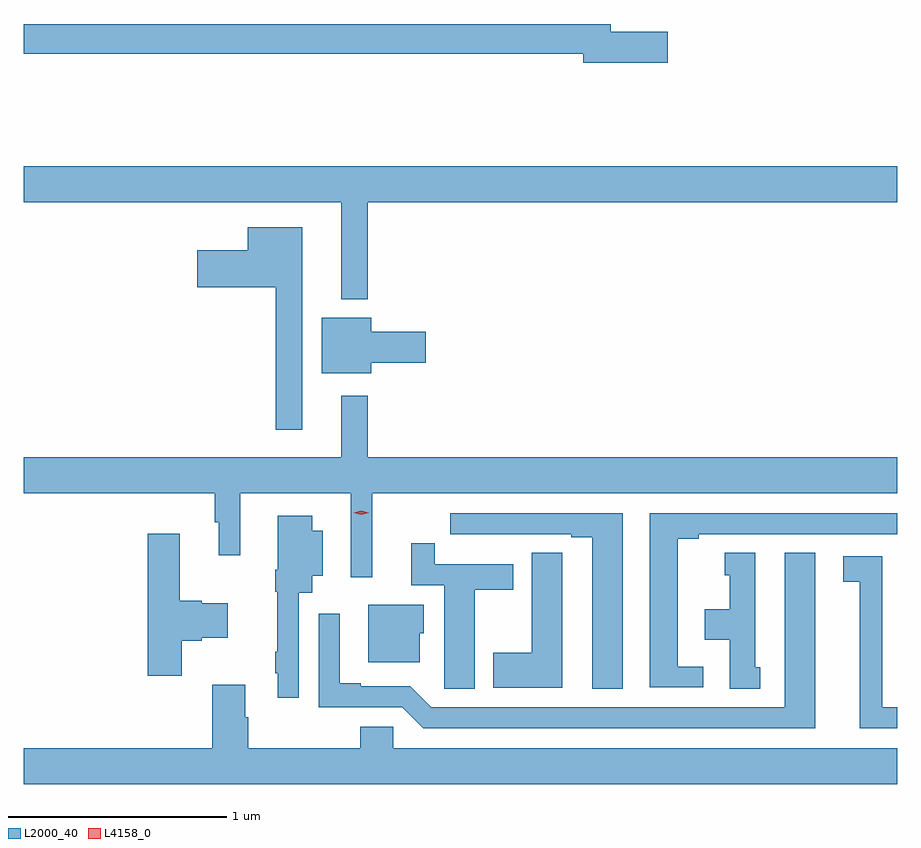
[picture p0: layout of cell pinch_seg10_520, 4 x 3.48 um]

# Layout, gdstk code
import gdstk
lib = gdstk.Library(unit=1e-6, precision=1e-09)
def P(c, l, *ps):  # polygons
    for p in ps: c.add(gdstk.Polygon(p, *l))
L2000_40 = (2000, 40)
L4158_0 = (4158, 0)

pinch_seg10_520 = lib.new_cell('pinch_seg10_520')
P(pinch_seg10_520, L2000_40, [(279.175,1266.464),(278.914,1266.464),(278.914,1266.5),(276.225,1266.5),(276.225,1266.364),(278.786,1266.364),(278.786,1266.322),(279.175,1266.322)],
  [(277.801,1265.684),(280.225,1265.684),(280.225,1265.848),(276.225,1265.848),(276.225,1265.684),(277.679,1265.684),(277.679,1265.24),(277.801,1265.24)],
  [(277.501,1265.569),(277.25,1265.569),(277.25,1265.464),(277.02,1265.464),(277.02,1265.294),(277.38,1265.294),(277.38,1264.641),(277.501,1264.641)],
  [(277.816,1264.948),(278.065,1264.948),(278.065,1265.09),(277.816,1265.09),(277.816,1265.155),(277.589,1265.155),(277.589,1264.901),(277.816,1264.901)],
  [(277.82,1264.352),(280.225,1264.352),(280.225,1264.516),(277.801,1264.516),(277.801,1264.798),(277.679,1264.798),(277.679,1264.516),(276.225,1264.516),(276.225,1264.352),(277.099,1264.352),(277.099,1264.218),(277.118,1264.218),(277.118,1264.068),(277.216,1264.068),(277.216,1264.352),(277.722,1264.352),(277.722,1263.966),(277.82,1263.966)],
  [(278.968,1264.26),(278.178,1264.26),(278.178,1264.164),(278.29,1264.164),(278.29,1264.163),(278.456,1264.163),(278.456,1264.164),(278.732,1264.164),(278.732,1264.149),(278.828,1264.149),(278.828,1263.457),(278.968,1263.457)],
  [(279.337,1263.558),(279.22,1263.558),(279.22,1264.144),(279.316,1264.144),(279.316,1264.164),(280.225,1264.164),(280.225,1264.26),(279.092,1264.26),(279.092,1263.462),(279.337,1263.462)],
  [(277.485,1263.896),(277.546,1263.896),(277.546,1263.974),(277.594,1263.974),(277.594,1264.18),(277.546,1264.18),(277.546,1264.249),(277.388,1264.249),(277.388,1264),(277.377,1264),(277.377,1263.9),(277.387,1263.9),(277.387,1263.626),(277.377,1263.626),(277.377,1263.526),(277.388,1263.526),(277.388,1263.414),(277.485,1263.414)],
  [(276.948,1263.677),(277.041,1263.677),(277.041,1263.689),(277.159,1263.689),(277.159,1263.847),(277.041,1263.847),(277.041,1263.86),(276.94,1263.86),(276.94,1264.165),(276.794,1264.165),(276.794,1263.516),(276.948,1263.516)],
  [(278.29,1263.91),(278.467,1263.91),(278.467,1264.026),(278.108,1264.026),(278.108,1264.123),(278,1264.123),(278,1263.93),(278.15,1263.93),(278.15,1263.568),(278.151,1263.568),(278.151,1263.457),(278.29,1263.457)],
  [(278.692,1263.971),(278.691,1263.971),(278.691,1264.079),(278.552,1264.079),(278.552,1263.621),(278.375,1263.621),(278.375,1263.461),(278.692,1263.461)],
  [(279.85,1264.078),(279.71,1264.078),(279.71,1263.372),(278.091,1263.372),(277.995,1263.468),(277.768,1263.468),(277.768,1263.481),(277.672,1263.481),(277.672,1263.799),(277.575,1263.799),(277.575,1263.372),(277.959,1263.372),(278.055,1263.276),(279.85,1263.276)],
  [(279.598,1263.555),(279.574,1263.555),(279.574,1264.078),(279.434,1264.078),(279.434,1263.975),(279.458,1263.975),(279.458,1263.82),(279.344,1263.82),(279.344,1263.68),(279.458,1263.68),(279.458,1263.457),(279.598,1263.457)],
  [(280.225,1263.372),(280.156,1263.372),(280.156,1264.062),(279.978,1264.062),(279.978,1263.946),(280.052,1263.946),(280.052,1263.276),(280.225,1263.276)],
  [(278.038,1263.711),(278.056,1263.711),(278.056,1263.841),(277.802,1263.841),(277.802,1263.578),(278.038,1263.578)],
  [(280.225,1263.184),(277.917,1263.184),(277.917,1263.282),(277.766,1263.282),(277.766,1263.184),(277.253,1263.184),(277.253,1263.326),(277.24,1263.326),(277.24,1263.475),(277.088,1263.475),(277.088,1263.184),(276.225,1263.184),(276.225,1263.02),(280.225,1263.02)])
P(pinch_seg10_520, L4158_0, [(277.771,1264.252),(277.736,1264.261),(277.735,1264.261),(277.736,1264.262),(277.77,1264.272),(277.805,1264.263),(277.806,1264.262),(277.805,1264.262)])

lib.write_gds('pinch_seg10_520.gds')
